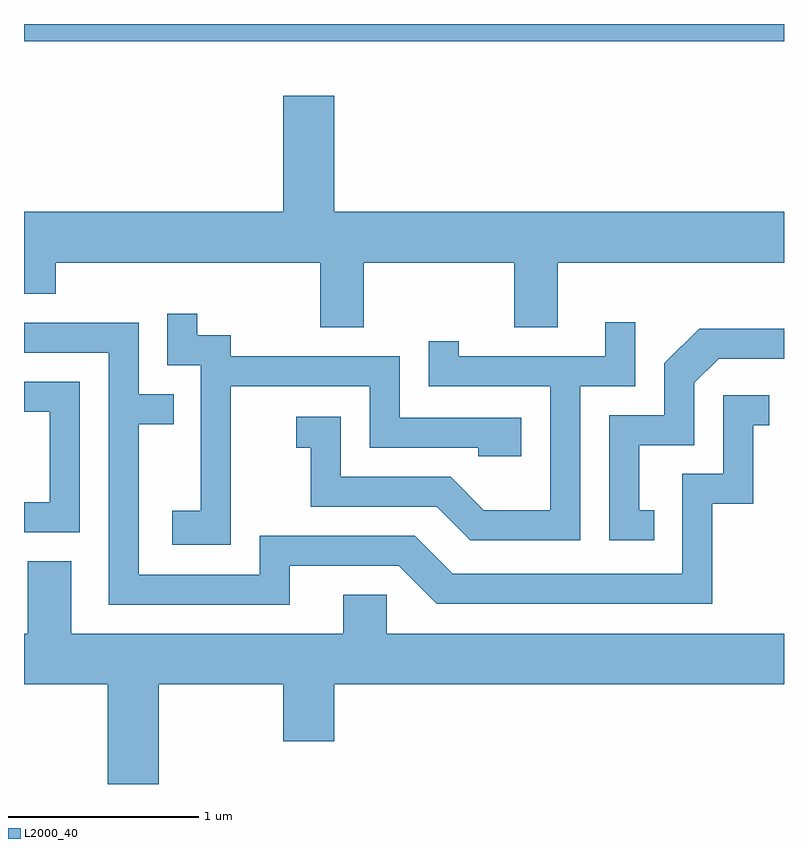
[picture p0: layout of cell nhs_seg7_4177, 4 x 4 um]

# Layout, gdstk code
import gdstk
lib = gdstk.Library(unit=1e-6, precision=1e-09)
def R(c, l, rs):  # rectangles x0, y0, x1, y1
    for r in rs: c.add(gdstk.rectangle(r[:2], r[2:], *l))
def P(c, l, *ps):  # polygons
    for p in ps: c.add(gdstk.Polygon(p, *l))
L2000_40 = (2000, 40)

nhs_seg7_4177 = lib.new_cell('nhs_seg7_4177')
R(nhs_seg7_4177, L2000_40, [(313.611,1702.161,317.611,1702.252)])
P(nhs_seg7_4177, L2000_40, [(314.976,1701.264),(313.611,1701.264),(313.611,1700.831),(313.779,1700.831),(313.779,1700.996),(315.171,1700.996),(315.171,1700.656),(315.399,1700.656),(315.399,1700.996),(316.191,1700.996),(316.191,1700.656),(316.419,1700.656),(316.419,1700.996),(317.611,1700.996),(317.611,1701.264),(315.244,1701.264),(315.244,1701.874),(314.976,1701.874)],
  [(314.699,1700.346),(315.431,1700.346),(315.431,1700.021),(316.001,1700.021),(316.001,1699.976),(316.229,1699.976),(316.229,1700.179),(315.589,1700.179),(315.589,1700.504),(314.699,1700.504),(314.699,1700.614),(314.524,1700.614),(314.524,1700.728),(314.366,1700.728),(314.366,1700.456),(314.541,1700.456),(314.541,1699.689),(314.391,1699.689),(314.391,1699.511),(314.699,1699.511)],
  [(316.539,1700.346),(316.829,1700.346),(316.829,1700.683),(316.671,1700.683),(316.671,1700.504),(315.899,1700.504),(315.899,1700.583),(315.741,1700.583),(315.741,1700.346),(316.381,1700.346),(316.381,1699.694),(316.032,1699.694),(315.857,1699.869),(315.279,1699.869),(315.279,1700.184),(315.043,1700.184),(315.043,1700.021),(315.121,1700.021),(315.121,1699.711),(315.784,1699.711),(315.959,1699.536),(316.539,1699.536)],
  [(315.009,1699.401),(315.584,1699.401),(315.784,1699.201),(317.234,1699.201),(317.234,1699.726),(317.449,1699.726),(317.449,1700.141),(317.533,1700.141),(317.533,1700.299),(317.291,1700.299),(317.291,1699.884),(317.076,1699.884),(317.076,1699.359),(315.867,1699.359),(315.667,1699.559),(314.851,1699.559),(314.851,1699.354),(314.214,1699.354),(314.214,1700.146),(314.398,1700.146),(314.398,1700.304),(314.214,1700.304),(314.214,1700.679),(313.611,1700.679),(313.611,1700.521),(314.056,1700.521),(314.056,1699.196),(315.009,1699.196)],
  [(316.928,1699.694),(316.849,1699.694),(316.849,1700.036),(317.139,1700.036),(317.139,1700.364),(317.267,1700.491),(317.611,1700.491),(317.611,1700.649),(317.164,1700.649),(316.981,1700.467),(316.981,1700.194),(316.691,1700.194),(316.691,1699.536),(316.928,1699.536)],
  [(313.904,1700.369),(313.611,1700.369),(313.611,1700.211),(313.746,1700.211),(313.746,1699.734),(313.611,1699.734),(313.611,1699.576),(313.904,1699.576)],
  [(314.319,1698.776),(314.976,1698.776),(314.976,1698.476),(315.244,1698.476),(315.244,1698.776),(317.611,1698.776),(317.611,1699.044),(315.519,1699.044),(315.519,1699.249),(315.291,1699.249),(315.291,1699.044),(313.859,1699.044),(313.859,1699.424),(313.631,1699.424),(313.631,1699.044),(313.611,1699.044),(313.611,1698.776),(314.051,1698.776),(314.051,1698.252),(314.319,1698.252)])

lib.write_gds('nhs_seg7_4177.gds')
